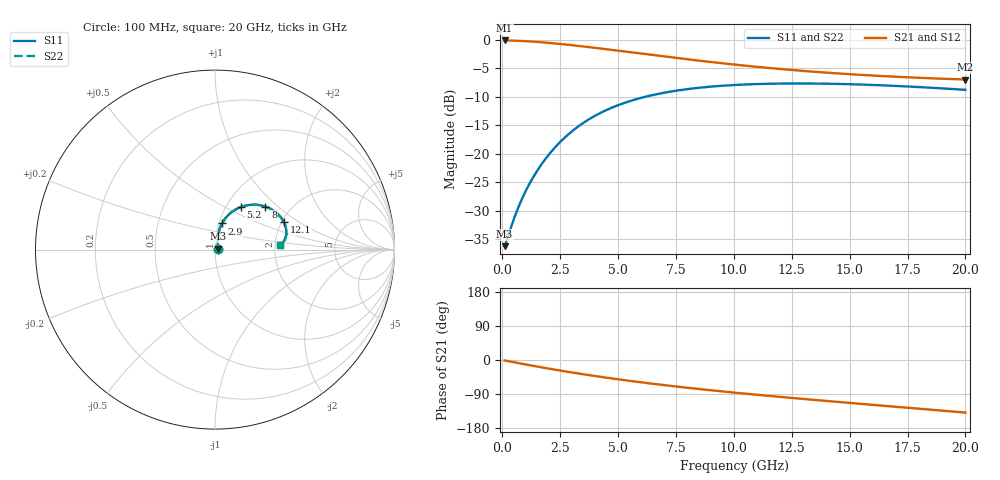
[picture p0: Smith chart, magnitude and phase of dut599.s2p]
! Touchstone file exported from HFSS 2024.1.0
!  File:  C:/UserFiles/LocalFiles/RDL_TSV_Batchsim/temp_RDL_TSV_599_1779761506.aedt
!  Generated:  10:23:59 AM May 26, 2026
!  Design:  RDL_TSV
!  Project:  temp_RDL_TSV_599_1779761506
!  Setup:  Setup1
!  Solution:  Sweep
! Variables:
!  dtsv = 6.14um
!  hbump = 3um
!  htsv = 62.1um
!  ldown = 379.27um
!  lrdl = 206.62um
!  p = 40
!  p1 = 48.23um
!  rhole = 10um
!  subl = 1964.29um
!  t = 450um
!  tdown = 3.37um
!  trdl = 4.74um
!  viad = 10um
!  wdown = 10.81um
!  wrdl = 24.71um
!  xbump = 18um
# GHz S MA R 50.000000
! Terminal data exported
! Port[1] = TM1_1_T1
! Port[2] = TM1_4_T1
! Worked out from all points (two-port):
!   200 points, 100 MHz to 20 GHz, reference 50 ohm
!   highest |S21| = -0.13 dB at 100 MHz (marker M1); lowest = -7.0 dB at 20 GHz (marker M2)
!   |S21| within 3 dB of the highest: start of sweep to 7.378 GHz
!   lowest |S11| = -36.2 dB at 100 MHz (marker M3), VSWR 1.03, Z = 51.5 + j0.475 ohm
!   |S11| at or under -10 dB: start of sweep to 6.177 GHz
!   |S22| runs from -36.2 to -7.7 dB; largest |S21 - S12| = 1e-14
!   S11 on the Smith chart (normalised r, x): 100 MHz: 1.03, +0.01; 2.9 GHz: 1.03, +0.31; 5.2 GHz: 1.17, +0.60; 8 GHz: 1.50, +0.83; 12.1 GHz: 2.06, +0.76; 20 GHz: 2.13, +0.13
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0.1  0.01551 17.3  0.985 -1.2  0.985 -1.2  0.01551 17.3
! Gamma 0 0 0 0
! Port Impedance 50 0 50 0
0.5  0.02682 54.5  0.9809 -5.9  0.9809 -5.9  0.02682 54.5
0.7  0.03421 62.9  0.9776 -8.2  0.9776 -8.2  0.03421 62.9
1  0.04671 70.5  0.9712 -11.7  0.9712 -11.7  0.04671 70.5
1.3  0.06068 74.7  0.9631 -15.1  0.9631 -15.1  0.06068 74.8
1.6  0.07593 76.9  0.9535 -18.4  0.9535 -18.4  0.07593 77.0
2  0.09786 77.8  0.9388 -22.7  0.9388 -22.7  0.09788 77.8
2.4  0.1211 77.1  0.9224 -26.8  0.9224 -26.8  0.1211 77.2
2.9  0.1509 75.0  0.9004 -31.9  0.9004 -31.9  0.151 75.0
3.5  0.1866 71.3  0.8727 -37.6  0.8727 -37.6  0.1867 71.3
4.3  0.2315 65.6  0.8347 -44.9  0.8347 -44.9  0.2316 65.6
5.2  0.2761 58.9  0.7922 -52.6  0.7922 -52.6  0.2762 58.9
6  0.3096 53.2  0.7557 -58.9  0.7557 -58.9  0.3098 53.2
6.8  0.3374 47.8  0.721 -64.9  0.721 -64.9  0.3376 47.8
8  0.3691 40.5  0.6733 -73.3  0.6733 -73.3  0.3694 40.5
9  0.3878 35.1  0.6378 -79.8  0.6378 -79.8  0.3881 35.1
10.1  0.4017 29.8  0.6032 -86.5  0.6032 -86.5  0.402 29.8
12.1  0.413 21.7  0.5517 -97.9  0.5517 -97.9  0.4133 21.7
13.4  0.4131 17.3  0.5251 -104.9  0.5251 -104.9  0.4134 17.3
15  0.4074 12.7  0.4986 -113.3  0.4986 -113.3  0.4078 12.8
16.7  0.396 8.9  0.4768 -121.9  0.4768 -121.9  0.3963 8.9
20  0.3638 4.3  0.448 -138.8  0.448 -138.8  0.364 4.3
